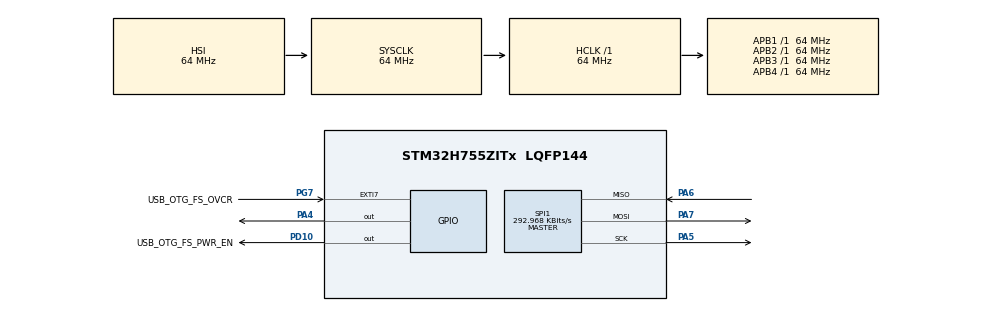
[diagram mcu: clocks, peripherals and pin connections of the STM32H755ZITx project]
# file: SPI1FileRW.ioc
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CortexM4.IPs=FATFS_M4\:I,FREERTOS_M4\:I,IWDG2\:I,RCC,WWDG2\:I,DMA,BDMA,MDMA,NVIC2\:I,USART3,DEBUG,PDM2PCM_M4\:I,PWR,RESMGR_UTILITY,SYS_M4\:I,USB_DEVICE_M4\:I,USB_HOST_M4\:I,CORTEX_M4\:I,GPIO,OPENAMP_M4\:I,VREFBUF,NUCLEO-H755ZI-Q
CortexM7.IPs=FATFS_M7\:I,FREERTOS_M7\:I,IWDG1\:I,RCC\:I,WWDG1\:I,DMA\:I,BDMA\:I,MDMA\:I,NVIC1\:I,USART3\:I,USB_OTG_FS\:I,USB_OTG_FS1\:I,SYS\:I,CORTEX_M7\:I,DEBUG\:I,PDM2PCM_M7\:I,PWR\:I,RESMGR_UTILITY\:I,USB_DEVICE_M7\:I,USB_HOST_M7\:I,GPIO\:I,OPENAMP_M7\:I,VREFBUF\:I,NUCLEO-H755ZI-Q\:I,SPI1\:I
CortexM7.Pins=PA4
FATFS_M7._MAX_LFN=64
FATFS_M7._USE_LFN=1
Mcu.Family=STM32H7
Mcu.Name=STM32H755ZITx
Mcu.Package=LQFP144
NUCLEO-H755ZI-Q.BUTTON=1
NUCLEO-H755ZI-Q.LD1=true
NUCLEO-H755ZI-Q.LD2=true
NUCLEO-H755ZI-Q.LD3=true
NUCLEO-H755ZI-Q.VCP=true
NVIC1.EXTI15_10_IRQn=true\:0\:0\:false\:false\:true\:false\:true\:true
NVIC1.PriorityGroup=NVIC_PRIORITYGROUP_4
NVIC2.PriorityGroup=NVIC_PRIORITYGROUP_4
PA1.PinAttribute=CortexM4
PA1.Signal=ETH_REF_CLK
PA11.PinAttribute=CortexM7
PA11.Signal=USB_OTG_FS_DM
PA12.PinAttribute=CortexM7
PA12.Signal=USB_OTG_FS_DP
PA2.PinAttribute=CortexM4
PA2.Signal=ETH_MDIO
PA4.GPIO_Speed=GPIO_SPEED_FREQ_VERY_HIGH
PA4.PinAttribute=CortexM7
PA4.PinState=GPIO_PIN_SET
PA4.Signal=GPIO_Output
PA5.GPIO_Speed=GPIO_SPEED_FREQ_VERY_HIGH
PA5.Mode=Full_Duplex_Master
PA5.PinAttribute=CortexM7
PA5.Signal=SPI1_SCK
PA6.GPIO_Speed=GPIO_SPEED_FREQ_VERY_HIGH
PA6.Mode=Full_Duplex_Master
PA6.PinAttribute=CortexM7
PA6.Signal=SPI1_MISO
PA7.GPIO_Speed=GPIO_SPEED_FREQ_VERY_HIGH
PA7.Mode=Full_Duplex_Master
PA7.PinAttribute=CortexM7
PA7.Signal=SPI1_MOSI
PA8.PinAttribute=CortexM7
PA8.Signal=USB_OTG_FS_SOF
PA9.PinAttribute=CortexM7
PA9.Signal=USB_OTG_FS_VBUS
PB13.PinAttribute=CortexM4
PB13.Signal=ETH_TXD1
PC1.PinAttribute=CortexM4
PC1.Signal=ETH_MDC
PC14-OSC32_IN\ (OSC32_IN).PinAttribute=Free
PC14-OSC32_IN\ (OSC32_IN).Signal=RCC_OSC32_IN
PC15-OSC32_OUT\ (OSC32_OUT).PinAttribute=Free
PC15-OSC32_OUT\ (OSC32_OUT).Signal=RCC_OSC32_OUT
PC4.PinAttribute=CortexM4
PC4.Signal=ETH_RXD0
PC5.PinAttribute=CortexM4
PC5.Signal=ETH_RXD1
PD10.GPIO_Label=USB_OTG_FS_PWR_EN
PD10.PinAttribute=Free
PD10.Signal=GPIO_Output
PD8.Signal=USART3_TX
PD9.Signal=USART3_RX
PG11.PinAttribute=CortexM4
PG11.Signal=ETH_TX_EN
PG13.PinAttribute=CortexM4
PG13.Signal=ETH_TXD0
PG7.GPIO_Label=USB_OTG_FS_OVCR
PG7.PinAttribute=Free
PG7.Signal=GPXTI7
PH0-OSC_IN\ (PH0).PinAttribute=Free
PH0-OSC_IN\ (PH0).Signal=RCC_OSC_IN
PH1-OSC_OUT\ (PH1).PinAttribute=Free
PH1-OSC_OUT\ (PH1).Signal=RCC_OSC_OUT
ProjectManager.HeapSize=M4-0x200,M7-0x1000
ProjectManager.StackSize=M4-0x400,M7-0x1000
ProjectManager.TargetToolchain=STM32CubeIDE
RCC.ADCFreq_Value=129000000
RCC.APB1Freq_Value=64000000
RCC.APB2Freq_Value=64000000
RCC.APB3Freq_Value=64000000
RCC.APB4Freq_Value=64000000
RCC.CortexFreq_Value=64000000
RCC.DIVM1=4
RCC.DIVN1=9
RCC.HCLKFreq_Value=64000000
RCC.PLL2FRACN=0
RCC.PLL3FRACN=0
RCC.PLLFRACN=3072
RCC.SYSCLKFreq_VALUE=64000000
RCC.SupplySource=PWR_DIRECT_SMPS_SUPPLY
RCC.USBFreq_Value=75000000
SPI1.BaudRatePrescaler=SPI_BAUDRATEPRESCALER_256
SPI1.CalculateBaudRate=292.968 KBits/s
SPI1.DataSize=SPI_DATASIZE_8BIT
SPI1.Direction=SPI_DIRECTION_2LINES
SPI1.Mode=SPI_MODE_MASTER
SPI1.NSSPMode=SPI_NSS_PULSE_DISABLE
SPI1.VirtualType=VM_MASTER
VP_FATFS_M7_VS_Generic.Mode=User_defined
VP_NUCLEO-H755ZI-Q_VS_BSP_COMMON.Mode=COMMON
VP_SYS_M4_VS_Systick.Mode=SysTick
board=NUCLEO-H755ZI-Q

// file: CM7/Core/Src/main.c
/* USER CODE BEGIN Header */
/**
  ******************************************************************************
  * @file           : main.c
  * @brief          : Main program body
  ******************************************************************************
  * @attention
  *
  * Copyright (c) 2026 STMicroelectronics.
  * All rights reserved.
  *
  * This software is licensed under terms that can be found in the LICENSE file
  * in the root directory of this software component.
  * If no LICENSE file comes with this software, it is provided AS-IS.
  *
  ******************************************************************************
  */
/* USER CODE END Header */
#include "main.h"
#include "fatfs.h"
#include "spi.h"
#include "gpio.h"

/* USER CODE BEGIN Includes */
#include "fatfs.h"
#include "string.h"
#include "sd_filemanager.h"
/* USER CODE END Includes */

/* USER CODE BEGIN PD */

/* DUAL_CORE_BOOT_SYNC_SEQUENCE: Define for dual core boot synchronization    */
/*                             demonstration code based on hardware semaphore */
/* This define is present in both CM7/CM4 projects                            */
/* To comment when developping/debugging on a single core                     */
//#define DUAL_CORE_BOOT_SYNC_SEQUENCE

#if defined(DUAL_CORE_BOOT_SYNC_SEQUENCE)
#ifndef HSEM_ID_0
#define HSEM_ID_0 (0U) /* HW semaphore 0*/
#endif
#endif /* DUAL_CORE_BOOT_SYNC_SEQUENCE */

/* USER CODE END PD */

COM_InitTypeDef BspCOMInit;

/* USER CODE BEGIN PV */
char read_buffer[512];
FRESULT fr;

/* USER CODE END PV */

void SystemClock_Config(void);

int main(void)
{

/* USER CODE BEGIN Boot_Mode_Sequence_0 */
#if defined(DUAL_CORE_BOOT_SYNC_SEQUENCE)
  int32_t timeout;
#endif /* DUAL_CORE_BOOT_SYNC_SEQUENCE */
/* USER CODE END Boot_Mode_Sequence_0 */

/* USER CODE BEGIN Boot_Mode_Sequence_1 */
#if defined(DUAL_CORE_BOOT_SYNC_SEQUENCE)
  /* Wait until CPU2 boots and enters in stop mode or timeout*/
  timeout = 0xFFFF;
  while((__HAL_RCC_GET_FLAG(RCC_FLAG_D2CKRDY) != RESET) && (timeout-- > 0));
  if ( timeout < 0 )
  {
  Error_Handler();
  }
#endif /* DUAL_CORE_BOOT_SYNC_SEQUENCE */
/* USER CODE END Boot_Mode_Sequence_1 */
  /* MCU Configuration--------------------------------------------------------*/

  /* Reset of all peripherals, Initializes the Flash interface and the Systick. */
  HAL_Init();

  /* Configure the system clock */
  SystemClock_Config();
/* USER CODE BEGIN Boot_Mode_Sequence_2 */
#if defined(DUAL_CORE_BOOT_SYNC_SEQUENCE)
/* When system initialization is finished, Cortex-M7 will release Cortex-M4 by means of
HSEM notification */
/*HW semaphore Clock enable*/
__HAL_RCC_HSEM_CLK_ENABLE();
/*Take HSEM */
HAL_HSEM_FastTake(HSEM_ID_0);
/*Release HSEM in order to notify the CPU2(CM4)*/
HAL_HSEM_Release(HSEM_ID_0,0);
/* wait until CPU2 wakes up from stop mode */
timeout = 0xFFFF;
while((__HAL_RCC_GET_FLAG(RCC_FLAG_D2CKRDY) == RESET) && (timeout-- > 0));
if ( timeout < 0 )
{
Error_Handler();
}
#endif /* DUAL_CORE_BOOT_SYNC_SEQUENCE */
/* USER CODE END Boot_Mode_Sequence_2 */

  /* USER CODE BEGIN SysInit */

  // LED1， LED2， LED3 初始化
  BSP_LED_Init(LED_GREEN);
  BSP_LED_Init(LED_YELLOW);
  BSP_LED_Init(LED_RED);

  /* USER CODE END SysInit */

  /* Initialize all configured peripherals */

  HAL_Delay(3000);

  MX_GPIO_Init();

  BSP_LED_On(LED_GREEN);
  HAL_Delay(1000);
  BSP_LED_Off(LED_GREEN); // GPIO 初始化通過

  MX_SPI1_Init();

  BSP_LED_On(LED_YELLOW);
  HAL_Delay(1000);
  BSP_LED_Off(LED_YELLOW);// SPI 1 初始化通過

  MX_FATFS_Init();

  BSP_LED_On(LED_RED);
  HAL_Delay(1000);
  BSP_LED_Off(LED_RED);// FATFS 初始化通過

  // 以上的初始化關鍵點是 檔案： diskio.c 檔案，透過 SPI 根據 SD Protocols 與 SD 卡進行通訊，實現對 SD 卡的讀寫操作，並且提供給 FATFS 使用。 檔案路徑： SPI1FileRW\CM7\Middlewares\Third_Party\FatFs\diskio.c，這個檔案只能透過 STM32CubeIDE 開啟，無法直接在檔案總管中開啟編輯，裡面有一個重要的函式 disk_initialize()，這個函式會呼叫 SD_Init() 來初始化 SD 卡，確保 SD 卡已經準備好進行後續的讀寫操作。

    // =========================
    // PE13 手動初始化為 GPIO Output
    // =========================

    __HAL_RCC_GPIOE_CLK_ENABLE();

    GPIO_InitTypeDef GPIO_InitStruct = {0};

    GPIO_InitStruct.Pin = GPIO_PIN_13;
    GPIO_InitStruct.Mode = GPIO_MODE_OUTPUT_PP;
    GPIO_InitStruct.Pull = GPIO_NOPULL;
    GPIO_InitStruct.Speed = GPIO_SPEED_FREQ_LOW;

    HAL_GPIO_Init(GPIOE, &GPIO_InitStruct);

    HAL_GPIO_WritePin(GPIOE,
                    GPIO_PIN_13,
                    GPIO_PIN_RESET);

  /* USER CODE BEGIN 2 */

  /*  以下是檔案測試 流程 可以當作 API 範例 */

    // 測試驗證每傳輸256byte到 SD 卡需要花費多久時間，並且透過 PE13 腳位產生一個高電位脈衝，持續 50ms，以便示波器能夠清楚捕捉到每次寫入的時機點。最後，當所有寫入完成後，透過 LED 燈號顯示測試完成的狀態。
    // =================== 測試範本第三類 開始 ===================

    fr = SD_FILEMANAGER_Init();

    if(fr != FR_OK)
    {
        BSP_LED_On(LED_RED);
        while(1);
    }

    // 寫入前先刪除舊檔案
    fr = SD_FILEMANAGER_Delete("SPIFile.txt");

    if(fr != FR_OK &&
    fr != FR_NO_FILE)
    {
        BSP_LED_On(LED_RED);
        while(1);
    }

    // 建立 256 byte 測試資料
    char line256[257];

    for(uint16_t i = 0; i < 256; i++)
    {
        // 產生循環數字字元
        line256[i] = '0' + (i % 10);
    }

    line256[256] = '\0';

    // 準備開始測試，點亮綠燈表示測試開始
    BSP_LED_On(LED_GREEN);

    // PE13 預設 Low
    HAL_GPIO_WritePin(GPIOE, GPIO_PIN_13, GPIO_PIN_RESET);

    // 重複寫入 5000 行
    //for(uint32_t line = 0; line < 5000; line++)
    // 實際測試要觀察每次寫入 256 byte 的時間，用 5000會花費很久時間，足夠使用 示波器量測 pulse 間隔時間。

    // 以下程式寫 30 行到 SD 卡，可以確定是OK的，然後再改成 5000 行進行長時間測試。

    // 這裡先測試 30 行，確保功能正常，再進行大批量測試
    // 經過測試，可以成功寫入 30 行，每行 256 byte，綠燈會先亮起，表示開始寫入到 SD 卡內，當寫完 30 行，綠燈滅，黃燈亮3秒後熄滅。
    // 拔掉 SD 卡，插入到電腦觀察，可以看到 "SPIFile.txt" 這個檔案裡面有 30 行，每行都是 256 個字元的循環數字（從 '0' 到 '9' 循環）。
    for(uint32_t line = 0; line < 30; line++)
    {
        fr = SD_FILEMANAGER_AppendLine(
                "SPIFile.txt",
                line256
            );

        if(fr != FR_OK)
        {
            BSP_LED_On(LED_RED);
            while(1);
        }

        // ===== pulse High =====
        HAL_GPIO_WritePin(GPIOE,
                        GPIO_PIN_13,
                        GPIO_PIN_SET);

        HAL_Delay(1);//高電位為 1ms，讓示波器能夠清楚捕捉到每次寫入的時機點

        // ===== pulse Low =====
        HAL_GPIO_WritePin(GPIOE,
                        GPIO_PIN_13,
                        GPIO_PIN_RESET);
    }

    // 測試完成
    BSP_LED_Off(LED_GREEN);
    BSP_LED_On(LED_YELLOW);
    HAL_Delay(3000);
    BSP_LED_Off(LED_YELLOW);
    while(1);

    // =================== 測試範本第三類 結束 ===================

// 先檢查 SD 卡是否能夠正常初始化，然後刪除舊檔案（如果存在的話），確保測試從乾淨的狀態開始。接著建立一行 256 字元的測試資料，並且重複寫入 5000 行到 "SPIFile.txt" 檔案中。在每次寫入時，透過 PE13 腳位產生一個高電位脈衝，持續 50ms，以便示波器能夠清楚捕捉到每次寫入的時機點。最後，當所有寫入完成後，透過 LED 燈號顯示測試完成的狀態.

// 檢查 SD card 是否有此檔案，且有 5000行 2026-05-11

  /*
  // =================== 測試範本第二類 開始 ===================
  fr = SD_FILEMANAGER_Init();

  if(fr != FR_OK)
  {
      BSP_LED_On(LED_RED);
      while(1);
  }

  //寫入檔案之前，先刪除舊檔案（如果存在的話），確保測試從乾淨的狀態開始
  // 注意：如果 SD 卡裡沒有 "SPIFile.txt" 這個檔案，SD_FILEMANAGER_Delete() 會回傳 FR_NO_FILE，但這對我們來說不是錯誤，因為我們的目標是確保 "SPIFile.txt" 不存在，以便後續測試能夠順利進行。
  fr = SD_FILEMANAGER_Delete("SPIFile.txt");

  if(fr != FR_OK &&
    fr != FR_NO_FILE)
  {
      BSP_LED_On(LED_RED); // FR_NO_FILE 也算成功

      while(1);
  }

  BSP_LED_On(LED_GREEN);
  HAL_Delay(1000);
  BSP_LED_Off(LED_GREEN);

  // 建立測試資料
  fr = SD_FILEMANAGER_AppendLine("SPIFile.txt", "LINE 1");
  if(fr != FR_OK)
  {
      BSP_LED_On(LED_RED);
      while(1);
  }

  fr = SD_FILEMANAGER_AppendLine("SPIFile.txt", "LINE 2");
  if(fr != FR_OK)
  {
      BSP_LED_On(LED_RED);
      while(1);
  }

  fr = SD_FILEMANAGER_AppendLine("SPIFile.txt", "LINE 3");
  if(fr != FR_OK)
  {
      BSP_LED_On(LED_RED);
      while(1);
  }

  fr = SD_FILEMANAGER_AppendLine("SPIFile.txt", "LINE 4");
  if(fr != FR_OK)
  {
      BSP_LED_On(LED_RED);
      while(1);
  }

  fr = SD_FILEMANAGER_AppendLine("SPIFile.txt", "LINE 5");
  if(fr != FR_OK)
  {
      BSP_LED_On(LED_RED);
      while(1);
  }

  BSP_LED_On(LED_YELLOW);
  HAL_Delay(1000);
  BSP_LED_Off(LED_YELLOW);

  // 刪除： LINE 2  LINE 3
  char tmp_buf[128];

  fr = SD_FILEMANAGER_DeleteLines(
          "SPIFile.txt",
          2,
          2,
          tmp_buf,
          sizeof(tmp_buf)
  );

  if(fr != FR_OK)
  {
      BSP_LED_On(LED_RED);
      while(1);
  }

  BSP_LED_On(LED_GREEN);
  HAL_Delay(1000);
  BSP_LED_Off(LED_GREEN);

  char linebuf[128];

  fr = SD_FILEMANAGER_ReadLine(
          "SPIFile.txt",
          linebuf,
          sizeof(linebuf),
          2
      );

  if(fr != FR_OK)
  {
      BSP_LED_On(LED_RED);

      while(1);
  }

  // 驗證： 第 2 行應該是 LINE 4
  if(strncmp(linebuf,
            "LINE 4",
            strlen("LINE 4")) == 0)
  {
      // PASS
      BSP_LED_On(LED_YELLOW);
      BSP_LED_On(LED_GREEN);

      HAL_Delay(3000);

      BSP_LED_Off(LED_GREEN);
      BSP_LED_Off(LED_YELLOW);

  }
  else
  {
      // FAIL
      BSP_LED_On(LED_RED);
      BSP_LED_On(LED_YELLOW);

      while(1);
  }

uint64_t line_count = 0;
// 目前檔案總共(剩)有幾行
fr = SD_FILEMANAGER_GetLineCount(
        "SPIFile.txt",
        &line_count,
        tmp_buf,
        sizeof(tmp_buf)
);

if(fr != FR_OK)
{
    BSP_LED_On(LED_RED);
    while(1);
}

  // LED 驗證結果
  // 預期：
  // LINE 1
  // LINE 4
  // LINE 5
  // => 共 3 行（因為你刪了 2~3）

  if(line_count == 3)
  {
      // PASS
      BSP_LED_On(LED_GREEN);
      HAL_Delay(3000);
      BSP_LED_Off(LED_GREEN);
  }
  else
  {
      // FAIL
      BSP_LED_On(LED_RED);
      BSP_LED_On(LED_YELLOW);
      while(1);
  }

  // =================== 測試範本第二類 結束 ===================
// 測試驗證 OK    2026-05-11
*/

/*
// 驗證通過 2026-05-11
  // =================== 測試範本第一類 開始 ===================
  // 1. 初始化 SD 卡檔案管理器
  // SD 卡檔案管理器初始化
  fr = SD_FILEMANAGER_Init();

  if(fr != FR_OK &&
     fr != FR_NO_FILE)
  {
      BSP_LED_On(LED_RED);
      while(1);
  }

  //寫入檔案之前，先刪除舊檔案（如果存在的話），確保測試從乾淨的狀態開始
  // 注意：如果 SD 卡裡沒有 "SPIFile.txt" 這個檔案，SD_FILEMANAGER_Delete() 會回傳 FR_NO_FILE，但這對我們來說不是錯誤，因為我們的目標是確保 "SPIFile.txt" 不存在，以便後續測試能夠順利進行。

  fr = SD_FILEMANAGER_Delete("SPIFile.txt");

  if(fr != FR_OK &&
     fr != FR_NO_FILE)
  {
      BSP_LED_On(LED_RED);

      while(1);
  }

  BSP_LED_On(LED_GREEN);
  HAL_Delay(1000);
  BSP_LED_Off(LED_GREEN);

  // 寫入測試（Log = 自動 CRLF）
  fr = SD_FILEMANAGER_AppendLine(
      "SPIFile.txt",
      "STM32H755 SPI SD Test"
  );

  if(fr != FR_OK)
  {
      BSP_LED_On(LED_RED);
      while(1);
  }

  fr = SD_FILEMANAGER_AppendLine(
      "SPIFile.txt",
      "Write OK"
  );

  if(fr != FR_OK)
  {
      BSP_LED_On(LED_RED);
      while(1);
  }

  BSP_LED_On(LED_YELLOW);
  HAL_Delay(1000);
  BSP_LED_Off(LED_YELLOW);

  // 追加寫入檔案測試
  SD_FILEMANAGER_AppendLine(
      "SPIFile.txt",
      "<111111> System Boot OK"
  );

  SD_FILEMANAGER_AppendLine(
      "SPIFile.txt",
      "<222222> SPI Init OK"
  );

  SD_FILEMANAGER_AppendLine(
      "SPIFile.txt",
      "<333333> Sensor Ready"
  );

  BSP_LED_On(LED_GREEN);
  BSP_LED_On(LED_YELLOW);
  HAL_Delay(1000);
  BSP_LED_Off(LED_GREEN);
  BSP_LED_Off(LED_YELLOW);

  // 讀取檔案測試
  char read_buffer[256];
  UINT read_bytes = 0;

  fr = SD_FILEMANAGER_Read(
      "SPIFile.txt",
      read_buffer,
      sizeof(read_buffer),
      0,              // offset
      &read_bytes
  );

  if(fr != FR_OK)
  {
      BSP_LED_On(LED_RED);
      while(1);
  }

  //  read OK
  BSP_LED_On(LED_YELLOW);
  HAL_Delay(1000);
  BSP_LED_Off(LED_YELLOW);

  SD_StorageInfo_t info;

  fr = SD_FILEMANAGER_GetStorageInfo(&info);

  if(fr != FR_OK)
  {
      BSP_LED_On(LED_RED);
      while(1);
  }

  BSP_LED_On(LED_RED);
  BSP_LED_On(LED_YELLOW);
  HAL_Delay(1000);
  BSP_LED_Off(LED_RED);
  BSP_LED_Off(LED_YELLOW);

  //
  //printf("Total: %lu KB\r\n", info.total_kb); // 總容量
  //printf("Used : %lu KB\r\n", info.used_kb); // 已使用容量
  //printf("Free : %lu KB\r\n", info.free_kb); // 可用容量

  char linebuf[128];

  fr = SD_FILEMANAGER_ReadLine(
          "SPIFile.txt",
          linebuf,
          sizeof(linebuf),
          3
      );

  if(fr != FR_OK)
  {
      BSP_LED_On(LED_RED);

      while(1);
  }

  if(strncmp(linebuf,
            "<111111> System Boot OK",
            strlen("<111111> System Boot OK")) == 0)
  {
      // read line OK
      BSP_LED_On(LED_GREEN);
      BSP_LED_On(LED_YELLOW);
      HAL_Delay(3000);
      BSP_LED_Off(LED_YELLOW);
      BSP_LED_Off(LED_GREEN);
  }
  else
  {
      // read line fail
      BSP_LED_On(LED_RED);

      BSP_LED_On(LED_YELLOW);

      while(1);
  }

  // 刪除檔案測試
  fr = SD_FILEMANAGER_Delete("SPIFile.txt");
  if(fr != FR_OK)
  {
      BSP_LED_On(LED_RED);
      while(1);
  }
  // delete OK
  BSP_LED_On(LED_RED);
  HAL_Delay(3000);
  BSP_LED_Off(LED_RED);

  // =================== 測試範本第一類 結束 ===================
*/

  /* USER CODE END 2 */

  /* Initialize USER push-button, will be used to trigger an interrupt each time it's pressed.*/
  BSP_PB_Init(BUTTON_USER, BUTTON_MODE_EXTI);

  /* Initialize COM1 port (115200, 8 bits (7-bit data + 1 stop bit), no parity */
  BspCOMInit.BaudRate   = 115200;
  BspCOMInit.WordLength = COM_WORDLENGTH_8B;
  BspCOMInit.StopBits   = COM_STOPBITS_1;
  BspCOMInit.Parity     = COM_PARITY_NONE;
  BspCOMInit.HwFlowCtl  = COM_HWCONTROL_NONE;
  if (BSP_COM_Init(COM1, &BspCOMInit) != BSP_ERROR_NONE)
  {
    Error_Handler();
  }

  /* Infinite loop */
  while (1)
  {

  }
}

void SystemClock_Config(void)
{
  RCC_OscInitTypeDef RCC_OscInitStruct = {0};
  RCC_ClkInitTypeDef RCC_ClkInitStruct = {0};

  /** Supply configuration update enable
  */
  HAL_PWREx_ConfigSupply(PWR_DIRECT_SMPS_SUPPLY);

  /** Configure the main internal regulator output voltage
  */
  __HAL_PWR_VOLTAGESCALING_CONFIG(PWR_REGULATOR_VOLTAGE_SCALE3);

  while(!__HAL_PWR_GET_FLAG(PWR_FLAG_VOSRDY)) {}

  /** Initializes the RCC Oscillators according to the specified parameters
  * in the RCC_OscInitTypeDef structure.
  */
  RCC_OscInitStruct.OscillatorType = RCC_OSCILLATORTYPE_HSI;
  RCC_OscInitStruct.HSIState = RCC_HSI_DIV1;
  RCC_OscInitStruct.HSICalibrationValue = RCC_HSICALIBRATION_DEFAULT;
  RCC_OscInitStruct.PLL.PLLState = RCC_PLL_ON;
  RCC_OscInitStruct.PLL.PLLSource = RCC_PLLSOURCE_HSI;
  RCC_OscInitStruct.PLL.PLLM = 4;
  RCC_OscInitStruct.PLL.PLLN = 9;
  RCC_OscInitStruct.PLL.PLLP = 2;
  RCC_OscInitStruct.PLL.PLLQ = 2;
  RCC_OscInitStruct.PLL.PLLR = 2;
  RCC_OscInitStruct.PLL.PLLRGE = RCC_PLL1VCIRANGE_3;
  RCC_OscInitStruct.PLL.PLLVCOSEL = RCC_PLL1VCOMEDIUM;
  RCC_OscInitStruct.PLL.PLLFRACN = 3072;
  if (HAL_RCC_OscConfig(&RCC_OscInitStruct) != HAL_OK)
  {
    Error_Handler();
  }

  /** Initializes the CPU, AHB and APB buses clocks
  */
  RCC_ClkInitStruct.ClockType = RCC_CLOCKTYPE_HCLK|RCC_CLOCKTYPE_SYSCLK
                              |RCC_CLOCKTYPE_PCLK1|RCC_CLOCKTYPE_PCLK2
                              |RCC_CLOCKTYPE_D3PCLK1|RCC_CLOCKTYPE_D1PCLK1;
  RCC_ClkInitStruct.SYSCLKSource = RCC_SYSCLKSOURCE_HSI;
  RCC_ClkInitStruct.SYSCLKDivider = RCC_SYSCLK_DIV1;
  RCC_ClkInitStruct.AHBCLKDivider = RCC_HCLK_DIV1;
  RCC_ClkInitStruct.APB3CLKDivider = RCC_APB3_DIV1;
  RCC_ClkInitStruct.APB1CLKDivider = RCC_APB1_DIV1;
  RCC_ClkInitStruct.APB2CLKDivider = RCC_APB2_DIV1;
  RCC_ClkInitStruct.APB4CLKDivider = RCC_APB4_DIV1;

  if (HAL_RCC_ClockConfig(&RCC_ClkInitStruct, FLASH_LATENCY_1) != HAL_OK)
  {
    Error_Handler();
  }
}

void Error_Handler(void)
{
  /* USER CODE BEGIN Error_Handler_Debug */
  /* User can add his own implementation to report the HAL error return state */
  __disable_irq(); // 1. 確保中斷被關閉（防止其他幹擾）

  // 初始化三顆 LED
  BSP_LED_Init(LED_GREEN);
  BSP_LED_Init(LED_YELLOW);
  BSP_LED_Init(LED_RED);
      // 如果把 SD 卡 拔掉，再 按下 開發板上的 Reset 按鍵，會跑到這裡，開發板的 LED1 綠，LED2 黃，LED3 紅 會一起閃爍。
      // 若再把 SD 卡 插入，再 按下 開發板上的 Reset 按鍵，就又會恢復正常運作： 寫入，讀取，比對 燈號變化
  while (1)
  {
    // 三燈同步翻轉
    HAL_GPIO_TogglePin(GPIOB, GPIO_PIN_0);  // LED1 綠
    HAL_GPIO_TogglePin(GPIOE, GPIO_PIN_1);  // LED2 黃
    HAL_GPIO_TogglePin(GPIOB, GPIO_PIN_14); // LED3 紅

    // 軟體延遲 (約 200ms，閃爍速度較快以示警告)
    for (uint32_t i = 0; i < 2000000; i++) {
        __NOP();
    }
  }
  /* USER CODE END Error_Handler_Debug */
}
